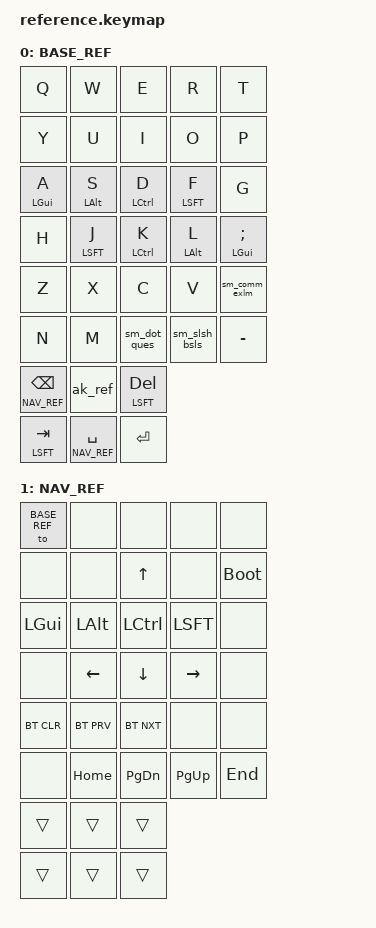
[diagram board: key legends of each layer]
// AUTO-GENERATED - DO NOT EDIT
// Reference keymap for parity testing
// Source: tests/fixtures/configs/reference_keymap.yaml

#include <behaviors.dtsi>
#include <dt-bindings/zmk/keys.h>
#include <dt-bindings/zmk/bt.h>

// =============================================================================
// LAYER INDICES
// =============================================================================
#define BASE_REF 0
#define NAV_REF 1

/ {
    // =========================================================================
    // BEHAVIORS
    // =========================================================================
    behaviors {
        // Home row mod - left hand
        hml: home_row_mod_left {
            compatible = "zmk,behavior-hold-tap";
            #binding-cells = <2>;
            tapping-term-ms = <280>;
            quick-tap-ms = <175>;
            require-prior-idle-ms = <150>;
            flavor = "balanced";
            hold-trigger-key-positions = <5 6 7 8 9 15 16 17 18 19 25 26 27 28 29 33 34 35>;
            bindings = <&kp>, <&kp>;
        };

        // Home row mod - right hand
        hmr: home_row_mod_right {
            compatible = "zmk,behavior-hold-tap";
            #binding-cells = <2>;
            tapping-term-ms = <280>;
            quick-tap-ms = <175>;
            require-prior-idle-ms = <150>;
            flavor = "balanced";
            hold-trigger-key-positions = <0 1 2 3 4 10 11 12 13 14 20 21 22 23 24 30 31 32>;
            bindings = <&kp>, <&kp>;
        };

        // Shift-morph: Comma -> Exclaim
        sm_comm_exlm: shift_morph_comm_exlm {
            compatible = "zmk,behavior-mod-morph";
            #binding-cells = <0>;
            bindings = <&kp COMMA>, <&kp EXCL>;
            mods = <(MOD_LSFT|MOD_RSFT)>;
        };

        // Shift-morph: Dot -> Question
        sm_dot_ques: shift_morph_dot_ques {
            compatible = "zmk,behavior-mod-morph";
            #binding-cells = <0>;
            bindings = <&kp DOT>, <&kp QMARK>;
            mods = <(MOD_LSFT|MOD_RSFT)>;
        };

        // Shift-morph: Slash -> Backslash
        sm_slsh_bsls: shift_morph_slsh_bsls {
            compatible = "zmk,behavior-mod-morph";
            #binding-cells = <0>;
            bindings = <&kp FSLH>, <&kp BSLH>;
            mods = <(MOD_LSFT|MOD_RSFT)>;
        };

        // Magic key (adaptive key for BASE_REF)
        ak_ref: adaptive_key_ref {
            compatible = "zmk,behavior-adaptive-key";
            #binding-cells = <0>;
            bindings = <&kp SPACE>;
            // Mappings defined in adaptive-key config
        };
    };

    // =========================================================================
    // COMBOS
    // =========================================================================
    combos {
        compatible = "zmk,combos";

        ref_combo_esc {
            timeout-ms = <50>;
            key-positions = <0 1>;
            bindings = <&kp ESC>;
            layers = <BASE_REF>;
        };

        ref_combo_caps {
            timeout-ms = <50>;
            key-positions = <13 16>;
            bindings = <&kp CAPS>;
            layers = <BASE_REF>;
        };
    };

    // =========================================================================
    // KEYMAP
    // =========================================================================
    keymap {
        compatible = "zmk,keymap";

        // =====================================================================
        // BASE_REF: Main reference layer with all behavior types
        // =====================================================================
        BASE_REF {
            bindings = <
                // Row 0: Simple alpha keys
                &kp Q           &kp W           &kp E           &kp R           &kp T
                &kp Y           &kp U           &kp I           &kp O           &kp P
                // Row 1: Home row mods (left hml, right hmr)
                &hml LGUI A     &hml LALT S     &hml LCTL D     &hml LSFT F     &kp G
                &kp H           &hmr LSFT J     &hmr LCTL K     &hmr LALT L     &hmr LGUI SEMI
                // Row 2: Simple keys + shift-morph
                &kp Z           &kp X           &kp C           &kp V           &sm_comm_exlm
                &kp N           &kp M           &sm_dot_ques    &sm_slsh_bsls   &kp MINUS
                // Thumbs: layer-tap, magic, mod-tap
                &lt NAV_REF BSPC &ak_ref        &mt LSFT DEL
                &mt LSFT TAB    &lt NAV_REF SPACE &kp ENTER
            >;
        };

        // =====================================================================
        // NAV_REF: Navigation layer with df:, bt:, arrows
        // =====================================================================
        NAV_REF {
            bindings = <
                // Row 0: df: at position 0
                &to BASE_REF    &none           &none           &none           &none
                &none           &none           &kp UP          &none           &bootloader
                // Row 1: Pure modifiers
                &kp LGUI        &kp LALT        &kp LCTL        &kp LSFT        &none
                &none           &kp LEFT        &kp DOWN        &kp RIGHT       &none
                // Row 2: Bluetooth
                &bt BT_CLR      &bt BT_PRV      &bt BT_NXT      &none           &none
                &none           &kp HOME        &kp PG_DN       &kp PG_UP       &kp END
                // Thumbs: Transparent
                &trans          &trans          &trans
                &trans          &trans          &trans
            >;
        };
    };
};
